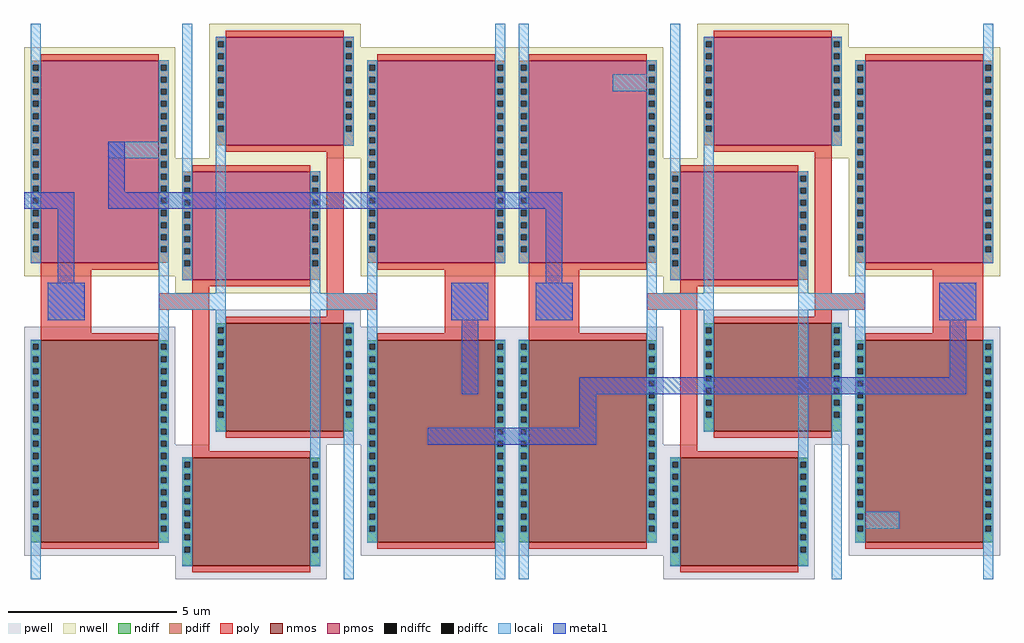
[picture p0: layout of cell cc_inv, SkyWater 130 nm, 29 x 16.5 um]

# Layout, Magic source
magic
tech sky130A
<< nwell >>
rect 1300 800 1450 820
rect 2750 800 2900 820
<< pwell >>
rect 1300 630 1450 650
rect 2750 630 2900 650
<< poly >>
rect 100 630 250 820
rect 550 750 600 770
rect 450 700 600 750
rect 550 280 600 700
rect 950 750 1000 1170
rect 950 700 1100 750
rect 950 680 1000 700
rect 1300 630 1450 820
rect 1550 630 1700 820
rect 2000 750 2050 770
rect 1900 700 2050 750
rect 2000 280 2050 700
rect 2400 750 2450 1170
rect 2400 700 2550 750
rect 2400 680 2450 700
rect 2750 630 2900 820
<< locali >>
rect 70 1442 100 1550
rect 300 1150 450 1200
rect 520 1112 550 1550
rect 1450 1442 1480 1550
rect 1520 1442 1550 1550
rect 1800 1350 1900 1400
rect 120 670 230 780
rect 450 750 480 838
rect 620 750 650 1188
rect 1970 1112 2000 1550
rect 2900 1442 2930 1550
rect 450 700 650 750
rect 450 612 480 700
rect 620 662 650 700
rect 900 750 930 788
rect 1070 750 1100 838
rect 900 700 1100 750
rect 900 262 930 700
rect 1070 612 1100 700
rect 1320 670 1430 780
rect 1570 670 1680 780
rect 1900 750 1930 838
rect 2070 750 2100 1188
rect 1900 700 2100 750
rect 1900 612 1930 700
rect 2070 662 2100 700
rect 2350 750 2380 788
rect 2520 750 2550 838
rect 2350 700 2550 750
rect 70 -100 100 8
rect 1000 -100 1030 338
rect 2350 262 2380 700
rect 2520 612 2550 700
rect 2770 670 2880 780
rect 1450 -100 1480 8
rect 1520 -100 1550 8
rect 2450 -100 2480 338
rect 2550 50 2650 100
rect 2900 -100 2930 8
<< metal1 >>
rect 300 1050 350 1200
rect 50 1000 200 1050
rect 300 1000 1650 1050
rect 150 780 200 1000
rect 1600 780 1650 1000
rect 120 670 230 780
rect 1320 670 1430 780
rect 1570 670 1680 780
rect 2770 670 2880 780
rect 1350 450 1400 670
rect 2800 500 2850 670
rect 1700 450 2850 500
rect 1700 350 1750 450
rect 1250 300 1750 350
use nfet_12  nfet_12_0
transform 1 0 2450 0 1 110
box 50 -140 500 540
use nfet_12  nfet_12_1
transform 1 0 1450 0 1 110
box 50 -140 500 540
use nfet_12  nfet_12_2
transform 1 0 0 0 1 110
box 50 -140 500 540
use nfet_12  nfet_12_3
transform 1 0 1000 0 1 110
box 50 -140 500 540
use nfet_34  nfet_34_0
transform 1 0 2100 0 1 340
box -50 -40 400 360
use nfet_34  nfet_34_1
transform 1 0 2000 0 1 -60
box -50 -40 400 360
use nfet_34  nfet_34_2
transform 1 0 550 0 1 -60
box -50 -40 400 360
use nfet_34  nfet_34_3
transform 1 0 650 0 1 340
box -50 -40 400 360
use pfet_12  pfet_12_0
transform 1 0 2500 0 1 800
box 0 0 450 680
use pfet_12  pfet_12_1
transform 1 0 1500 0 1 800
box 0 0 450 680
use pfet_12  pfet_12_2
transform 1 0 50 0 1 800
box 0 0 450 680
use pfet_12  pfet_12_3
transform 1 0 1050 0 1 800
box 0 0 450 680
use pfet_34  pfet_34_0
transform 1 0 2100 0 1 1190
box -50 -40 400 360
use pfet_34  pfet_34_1
transform 1 0 2000 0 1 790
box -50 -40 400 360
use pfet_34  pfet_34_2
transform 1 0 550 0 1 790
box -50 -40 400 360
use pfet_34  pfet_34_3
transform 1 0 650 0 1 1190
box -50 -40 400 360
<< end >>

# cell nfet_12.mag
magic
tech sky130A
<< pwell >>
rect 50 -140 500 540
<< nmos >>
rect 100 -100 450 500
<< ndiff >>
rect 70 489 100 500
rect 70 471 76 489
rect 94 471 100 489
rect 70 453 100 471
rect 70 435 76 453
rect 94 435 100 453
rect 70 417 100 435
rect 70 399 76 417
rect 94 399 100 417
rect 70 381 100 399
rect 70 363 76 381
rect 94 363 100 381
rect 70 345 100 363
rect 70 327 76 345
rect 94 327 100 345
rect 70 309 100 327
rect 70 291 76 309
rect 94 291 100 309
rect 70 273 100 291
rect 70 255 76 273
rect 94 255 100 273
rect 70 237 100 255
rect 70 219 76 237
rect 94 219 100 237
rect 70 201 100 219
rect 70 183 76 201
rect 94 183 100 201
rect 70 165 100 183
rect 70 147 76 165
rect 94 147 100 165
rect 70 129 100 147
rect 70 111 76 129
rect 94 111 100 129
rect 70 93 100 111
rect 70 75 76 93
rect 94 75 100 93
rect 70 57 100 75
rect 70 39 76 57
rect 94 39 100 57
rect 70 21 100 39
rect 70 3 76 21
rect 94 3 100 21
rect 70 -15 100 3
rect 70 -33 76 -15
rect 94 -33 100 -15
rect 70 -51 100 -33
rect 70 -69 76 -51
rect 94 -69 100 -51
rect 70 -100 100 -69
rect 450 489 480 500
rect 450 471 456 489
rect 474 471 480 489
rect 450 453 480 471
rect 450 435 456 453
rect 474 435 480 453
rect 450 417 480 435
rect 450 399 456 417
rect 474 399 480 417
rect 450 381 480 399
rect 450 363 456 381
rect 474 363 480 381
rect 450 345 480 363
rect 450 327 456 345
rect 474 327 480 345
rect 450 309 480 327
rect 450 291 456 309
rect 474 291 480 309
rect 450 273 480 291
rect 450 255 456 273
rect 474 255 480 273
rect 450 237 480 255
rect 450 219 456 237
rect 474 219 480 237
rect 450 201 480 219
rect 450 183 456 201
rect 474 183 480 201
rect 450 165 480 183
rect 450 147 456 165
rect 474 147 480 165
rect 450 129 480 147
rect 450 111 456 129
rect 474 111 480 129
rect 450 93 480 111
rect 450 75 456 93
rect 474 75 480 93
rect 450 57 480 75
rect 450 39 456 57
rect 474 39 480 57
rect 450 21 480 39
rect 450 3 456 21
rect 474 3 480 21
rect 450 -15 480 3
rect 450 -33 456 -15
rect 474 -33 480 -15
rect 450 -51 480 -33
rect 450 -69 456 -51
rect 474 -69 480 -51
rect 450 -100 480 -69
<< ndiffc >>
rect 76 471 94 489
rect 76 435 94 453
rect 76 399 94 417
rect 76 363 94 381
rect 76 327 94 345
rect 76 291 94 309
rect 76 255 94 273
rect 76 219 94 237
rect 76 183 94 201
rect 76 147 94 165
rect 76 111 94 129
rect 76 75 94 93
rect 76 39 94 57
rect 76 3 94 21
rect 76 -33 94 -15
rect 76 -69 94 -51
rect 456 471 474 489
rect 456 435 474 453
rect 456 399 474 417
rect 456 363 474 381
rect 456 327 474 345
rect 456 291 474 309
rect 456 255 474 273
rect 456 219 474 237
rect 456 183 474 201
rect 456 147 474 165
rect 456 111 474 129
rect 456 75 474 93
rect 456 39 474 57
rect 456 3 474 21
rect 456 -33 474 -15
rect 456 -69 474 -51
<< poly >>
rect 100 500 450 520
rect 100 -120 450 -100
<< locali >>
rect 70 489 100 502
rect 70 471 76 489
rect 94 471 100 489
rect 70 453 100 471
rect 70 435 76 453
rect 94 435 100 453
rect 70 417 100 435
rect 70 399 76 417
rect 94 399 100 417
rect 70 381 100 399
rect 70 363 76 381
rect 94 363 100 381
rect 70 345 100 363
rect 70 327 76 345
rect 94 327 100 345
rect 70 309 100 327
rect 70 291 76 309
rect 94 291 100 309
rect 70 273 100 291
rect 70 255 76 273
rect 94 255 100 273
rect 70 237 100 255
rect 70 219 76 237
rect 94 219 100 237
rect 70 201 100 219
rect 70 183 76 201
rect 94 183 100 201
rect 70 165 100 183
rect 70 147 76 165
rect 94 147 100 165
rect 70 129 100 147
rect 70 111 76 129
rect 94 111 100 129
rect 70 93 100 111
rect 70 75 76 93
rect 94 75 100 93
rect 70 57 100 75
rect 70 39 76 57
rect 94 39 100 57
rect 70 21 100 39
rect 70 3 76 21
rect 94 3 100 21
rect 70 -15 100 3
rect 70 -33 76 -15
rect 94 -33 100 -15
rect 70 -51 100 -33
rect 70 -69 76 -51
rect 94 -69 100 -51
rect 70 -102 100 -69
rect 450 489 480 502
rect 450 471 456 489
rect 474 471 480 489
rect 450 453 480 471
rect 450 435 456 453
rect 474 435 480 453
rect 450 417 480 435
rect 450 399 456 417
rect 474 399 480 417
rect 450 381 480 399
rect 450 363 456 381
rect 474 363 480 381
rect 450 345 480 363
rect 450 327 456 345
rect 474 327 480 345
rect 450 309 480 327
rect 450 291 456 309
rect 474 291 480 309
rect 450 273 480 291
rect 450 255 456 273
rect 474 255 480 273
rect 450 237 480 255
rect 450 219 456 237
rect 474 219 480 237
rect 450 201 480 219
rect 450 183 456 201
rect 474 183 480 201
rect 450 165 480 183
rect 450 147 456 165
rect 474 147 480 165
rect 450 129 480 147
rect 450 111 456 129
rect 474 111 480 129
rect 450 93 480 111
rect 450 75 456 93
rect 474 75 480 93
rect 450 57 480 75
rect 450 39 456 57
rect 474 39 480 57
rect 450 21 480 39
rect 450 3 456 21
rect 474 3 480 21
rect 450 -15 480 3
rect 450 -33 456 -15
rect 474 -33 480 -15
rect 450 -51 480 -33
rect 450 -69 456 -51
rect 474 -69 480 -51
rect 450 -102 480 -69
<< labels >>
rlabel locali 85 500 85 500 1 D
rlabel locali 465 500 465 500 1 S
rlabel pwell 480 520 480 520 1 B
rlabel poly 270 510 270 510 1 G
<< end >>

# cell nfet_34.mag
magic
tech sky130A
<< pwell >>
rect -50 -40 400 360
<< nmos >>
rect 0 0 350 320
<< ndiff >>
rect -30 309 0 320
rect -30 291 -24 309
rect -6 291 0 309
rect -30 273 0 291
rect -30 255 -24 273
rect -6 255 0 273
rect -30 237 0 255
rect -30 219 -24 237
rect -6 219 0 237
rect -30 201 0 219
rect -30 183 -24 201
rect -6 183 0 201
rect -30 165 0 183
rect -30 147 -24 165
rect -6 147 0 165
rect -30 129 0 147
rect -30 111 -24 129
rect -6 111 0 129
rect -30 93 0 111
rect -30 75 -24 93
rect -6 75 0 93
rect -30 57 0 75
rect -30 39 -24 57
rect -6 39 0 57
rect -30 0 0 39
rect 350 309 380 320
rect 350 291 356 309
rect 374 291 380 309
rect 350 273 380 291
rect 350 255 356 273
rect 374 255 380 273
rect 350 237 380 255
rect 350 219 356 237
rect 374 219 380 237
rect 350 201 380 219
rect 350 183 356 201
rect 374 183 380 201
rect 350 165 380 183
rect 350 147 356 165
rect 374 147 380 165
rect 350 129 380 147
rect 350 111 356 129
rect 374 111 380 129
rect 350 93 380 111
rect 350 75 356 93
rect 374 75 380 93
rect 350 57 380 75
rect 350 39 356 57
rect 374 39 380 57
rect 350 0 380 39
<< ndiffc >>
rect -24 291 -6 309
rect -24 255 -6 273
rect -24 219 -6 237
rect -24 183 -6 201
rect -24 147 -6 165
rect -24 111 -6 129
rect -24 75 -6 93
rect -24 39 -6 57
rect 356 291 374 309
rect 356 255 374 273
rect 356 219 374 237
rect 356 183 374 201
rect 356 147 374 165
rect 356 111 374 129
rect 356 75 374 93
rect 356 39 374 57
<< poly >>
rect 0 320 350 340
rect 0 -20 350 0
<< locali >>
rect -30 309 0 322
rect -30 291 -24 309
rect -6 291 0 309
rect -30 273 0 291
rect -30 255 -24 273
rect -6 255 0 273
rect -30 237 0 255
rect -30 219 -24 237
rect -6 219 0 237
rect -30 201 0 219
rect -30 183 -24 201
rect -6 183 0 201
rect -30 165 0 183
rect -30 147 -24 165
rect -6 147 0 165
rect -30 129 0 147
rect -30 111 -24 129
rect -6 111 0 129
rect -30 93 0 111
rect -30 75 -24 93
rect -6 75 0 93
rect -30 57 0 75
rect -30 39 -24 57
rect -6 39 0 57
rect -30 -2 0 39
rect 350 309 380 322
rect 350 291 356 309
rect 374 291 380 309
rect 350 273 380 291
rect 350 255 356 273
rect 374 255 380 273
rect 350 237 380 255
rect 350 219 356 237
rect 374 219 380 237
rect 350 201 380 219
rect 350 183 356 201
rect 374 183 380 201
rect 350 165 380 183
rect 350 147 356 165
rect 374 147 380 165
rect 350 129 380 147
rect 350 111 356 129
rect 374 111 380 129
rect 350 93 380 111
rect 350 75 356 93
rect 374 75 380 93
rect 350 57 380 75
rect 350 39 356 57
rect 374 39 380 57
rect 350 -2 380 39
<< labels >>
rlabel locali -15 320 -15 320 1 D
rlabel locali 365 322 365 322 1 S
rlabel poly 170 330 170 330 1 G
rlabel pwell 380 340 380 340 1 B
<< end >>

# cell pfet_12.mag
magic
tech sky130A
<< nwell >>
rect 0 0 450 680
<< pmos >>
rect 50 40 400 640
<< pdiff >>
rect 20 629 50 640
rect 20 611 26 629
rect 44 611 50 629
rect 20 593 50 611
rect 20 575 26 593
rect 44 575 50 593
rect 20 557 50 575
rect 20 539 26 557
rect 44 539 50 557
rect 20 521 50 539
rect 20 503 26 521
rect 44 503 50 521
rect 20 485 50 503
rect 20 467 26 485
rect 44 467 50 485
rect 20 449 50 467
rect 20 431 26 449
rect 44 431 50 449
rect 20 413 50 431
rect 20 395 26 413
rect 44 395 50 413
rect 20 377 50 395
rect 20 359 26 377
rect 44 359 50 377
rect 20 341 50 359
rect 20 323 26 341
rect 44 323 50 341
rect 20 305 50 323
rect 20 287 26 305
rect 44 287 50 305
rect 20 269 50 287
rect 20 251 26 269
rect 44 251 50 269
rect 20 233 50 251
rect 20 215 26 233
rect 44 215 50 233
rect 20 197 50 215
rect 20 179 26 197
rect 44 179 50 197
rect 20 161 50 179
rect 20 143 26 161
rect 44 143 50 161
rect 20 125 50 143
rect 20 107 26 125
rect 44 107 50 125
rect 20 89 50 107
rect 20 71 26 89
rect 44 71 50 89
rect 20 40 50 71
rect 400 629 430 640
rect 400 611 406 629
rect 424 611 430 629
rect 400 593 430 611
rect 400 575 406 593
rect 424 575 430 593
rect 400 557 430 575
rect 400 539 406 557
rect 424 539 430 557
rect 400 521 430 539
rect 400 503 406 521
rect 424 503 430 521
rect 400 485 430 503
rect 400 467 406 485
rect 424 467 430 485
rect 400 449 430 467
rect 400 431 406 449
rect 424 431 430 449
rect 400 413 430 431
rect 400 395 406 413
rect 424 395 430 413
rect 400 377 430 395
rect 400 359 406 377
rect 424 359 430 377
rect 400 341 430 359
rect 400 323 406 341
rect 424 323 430 341
rect 400 305 430 323
rect 400 287 406 305
rect 424 287 430 305
rect 400 269 430 287
rect 400 251 406 269
rect 424 251 430 269
rect 400 233 430 251
rect 400 215 406 233
rect 424 215 430 233
rect 400 197 430 215
rect 400 179 406 197
rect 424 179 430 197
rect 400 161 430 179
rect 400 143 406 161
rect 424 143 430 161
rect 400 125 430 143
rect 400 107 406 125
rect 424 107 430 125
rect 400 89 430 107
rect 400 71 406 89
rect 424 71 430 89
rect 400 40 430 71
<< pdiffc >>
rect 26 611 44 629
rect 26 575 44 593
rect 26 539 44 557
rect 26 503 44 521
rect 26 467 44 485
rect 26 431 44 449
rect 26 395 44 413
rect 26 359 44 377
rect 26 323 44 341
rect 26 287 44 305
rect 26 251 44 269
rect 26 215 44 233
rect 26 179 44 197
rect 26 143 44 161
rect 26 107 44 125
rect 26 71 44 89
rect 406 611 424 629
rect 406 575 424 593
rect 406 539 424 557
rect 406 503 424 521
rect 406 467 424 485
rect 406 431 424 449
rect 406 395 424 413
rect 406 359 424 377
rect 406 323 424 341
rect 406 287 424 305
rect 406 251 424 269
rect 406 215 424 233
rect 406 179 424 197
rect 406 143 424 161
rect 406 107 424 125
rect 406 71 424 89
<< poly >>
rect 50 640 400 660
rect 50 20 400 40
<< locali >>
rect 20 629 50 642
rect 20 611 26 629
rect 44 611 50 629
rect 20 593 50 611
rect 20 575 26 593
rect 44 575 50 593
rect 20 557 50 575
rect 20 539 26 557
rect 44 539 50 557
rect 20 521 50 539
rect 20 503 26 521
rect 44 503 50 521
rect 20 485 50 503
rect 20 467 26 485
rect 44 467 50 485
rect 20 449 50 467
rect 20 431 26 449
rect 44 431 50 449
rect 20 413 50 431
rect 20 395 26 413
rect 44 395 50 413
rect 20 377 50 395
rect 20 359 26 377
rect 44 359 50 377
rect 20 341 50 359
rect 20 323 26 341
rect 44 323 50 341
rect 20 305 50 323
rect 20 287 26 305
rect 44 287 50 305
rect 20 269 50 287
rect 20 251 26 269
rect 44 251 50 269
rect 20 233 50 251
rect 20 215 26 233
rect 44 215 50 233
rect 20 197 50 215
rect 20 179 26 197
rect 44 179 50 197
rect 20 161 50 179
rect 20 143 26 161
rect 44 143 50 161
rect 20 125 50 143
rect 20 107 26 125
rect 44 107 50 125
rect 20 89 50 107
rect 20 71 26 89
rect 44 71 50 89
rect 20 38 50 71
rect 400 629 430 642
rect 400 611 406 629
rect 424 611 430 629
rect 400 593 430 611
rect 400 575 406 593
rect 424 575 430 593
rect 400 557 430 575
rect 400 539 406 557
rect 424 539 430 557
rect 400 521 430 539
rect 400 503 406 521
rect 424 503 430 521
rect 400 485 430 503
rect 400 467 406 485
rect 424 467 430 485
rect 400 449 430 467
rect 400 431 406 449
rect 424 431 430 449
rect 400 413 430 431
rect 400 395 406 413
rect 424 395 430 413
rect 400 377 430 395
rect 400 359 406 377
rect 424 359 430 377
rect 400 341 430 359
rect 400 323 406 341
rect 424 323 430 341
rect 400 305 430 323
rect 400 287 406 305
rect 424 287 430 305
rect 400 269 430 287
rect 400 251 406 269
rect 424 251 430 269
rect 400 233 430 251
rect 400 215 406 233
rect 424 215 430 233
rect 400 197 430 215
rect 400 179 406 197
rect 424 179 430 197
rect 400 161 430 179
rect 400 143 406 161
rect 424 143 430 161
rect 400 125 430 143
rect 400 107 406 125
rect 424 107 430 125
rect 400 89 430 107
rect 400 71 406 89
rect 424 71 430 89
rect 400 38 430 71
<< labels >>
rlabel locali 35 40 35 40 1 D
rlabel poly 220 40 220 40 1 G
rlabel locali 415 40 415 40 1 S
rlabel nwell 430 20 430 20 1 B
<< end >>

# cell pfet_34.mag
magic
tech sky130A
<< nwell >>
rect -50 -40 400 360
<< pmos >>
rect 0 0 350 320
<< pdiff >>
rect -30 309 0 320
rect -30 291 -24 309
rect -6 291 0 309
rect -30 273 0 291
rect -30 255 -24 273
rect -6 255 0 273
rect -30 237 0 255
rect -30 219 -24 237
rect -6 219 0 237
rect -30 201 0 219
rect -30 183 -24 201
rect -6 183 0 201
rect -30 165 0 183
rect -30 147 -24 165
rect -6 147 0 165
rect -30 129 0 147
rect -30 111 -24 129
rect -6 111 0 129
rect -30 93 0 111
rect -30 75 -24 93
rect -6 75 0 93
rect -30 57 0 75
rect -30 39 -24 57
rect -6 39 0 57
rect -30 0 0 39
rect 350 309 380 320
rect 350 291 356 309
rect 374 291 380 309
rect 350 273 380 291
rect 350 255 356 273
rect 374 255 380 273
rect 350 237 380 255
rect 350 219 356 237
rect 374 219 380 237
rect 350 201 380 219
rect 350 183 356 201
rect 374 183 380 201
rect 350 165 380 183
rect 350 147 356 165
rect 374 147 380 165
rect 350 129 380 147
rect 350 111 356 129
rect 374 111 380 129
rect 350 93 380 111
rect 350 75 356 93
rect 374 75 380 93
rect 350 57 380 75
rect 350 39 356 57
rect 374 39 380 57
rect 350 0 380 39
<< pdiffc >>
rect -24 291 -6 309
rect -24 255 -6 273
rect -24 219 -6 237
rect -24 183 -6 201
rect -24 147 -6 165
rect -24 111 -6 129
rect -24 75 -6 93
rect -24 39 -6 57
rect 356 291 374 309
rect 356 255 374 273
rect 356 219 374 237
rect 356 183 374 201
rect 356 147 374 165
rect 356 111 374 129
rect 356 75 374 93
rect 356 39 374 57
<< poly >>
rect 0 320 350 340
rect 0 -20 350 0
<< locali >>
rect -30 309 0 322
rect -30 291 -24 309
rect -6 291 0 309
rect -30 273 0 291
rect -30 255 -24 273
rect -6 255 0 273
rect -30 237 0 255
rect -30 219 -24 237
rect -6 219 0 237
rect -30 201 0 219
rect -30 183 -24 201
rect -6 183 0 201
rect -30 165 0 183
rect -30 147 -24 165
rect -6 147 0 165
rect -30 129 0 147
rect -30 111 -24 129
rect -6 111 0 129
rect -30 93 0 111
rect -30 75 -24 93
rect -6 75 0 93
rect -30 57 0 75
rect -30 39 -24 57
rect -6 39 0 57
rect -30 -2 0 39
rect 350 309 380 322
rect 350 291 356 309
rect 374 291 380 309
rect 350 273 380 291
rect 350 255 356 273
rect 374 255 380 273
rect 350 237 380 255
rect 350 219 356 237
rect 374 219 380 237
rect 350 201 380 219
rect 350 183 356 201
rect 374 183 380 201
rect 350 165 380 183
rect 350 147 356 165
rect 374 147 380 165
rect 350 129 380 147
rect 350 111 356 129
rect 374 111 380 129
rect 350 93 380 111
rect 350 75 356 93
rect 374 75 380 93
rect 350 57 380 75
rect 350 39 356 57
rect 374 39 380 57
rect 350 -2 380 39
<< labels >>
rlabel poly 170 330 170 330 1 G
rlabel locali -15 320 -15 320 1 S
rlabel locali 365 320 365 320 1 D
rlabel nwell 380 340 380 340 1 B
<< end >>
